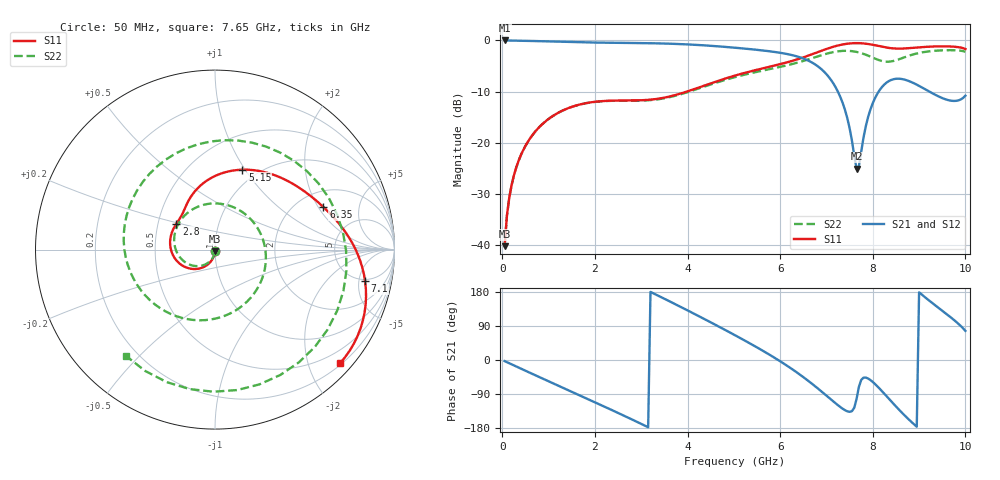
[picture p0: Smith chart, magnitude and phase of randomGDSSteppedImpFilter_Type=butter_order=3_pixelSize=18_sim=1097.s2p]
! freq	dB(S11)	phase(S11)	dB(S12)	phase(S12)
!  dB(S21)	phase(S21)	dB(S22)	phase(S22)
!S-par simulation data
#  GHz  S  DB  R 50
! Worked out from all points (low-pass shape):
!   200 points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, 50 MHz to 10 GHz, reference 50 ohm
!   highest |S21| = -0.01 dB at 50 MHz (marker M1); lowest = -25.1 dB at 7.65 GHz (marker M2)
!   |S21| within 3 dB of the highest: start of sweep to 6.317 GHz
!   lowest |S11| = -40.2 dB at 50 MHz (marker M3), VSWR 1.02, Z = 50 - j0.977 ohm
!   |S11| at or under -10 dB: start of sweep to 3.982 GHz
!   |S22| runs from -40.2 to -1.9 dB; largest |S21 - S12| = 0
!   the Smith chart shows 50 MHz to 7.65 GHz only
!   S11 on the Smith chart (normalised r, x): 50 MHz: 1.00, -0.02; 2.8 GHz: 0.62, +0.19; 5.15 GHz: 0.85, +0.97; 6.35 GHz: 2.72, +2.23; 7.1 GHz: 4.69, -6.09; 7.65 GHz: 0.23, -2.56
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0.05  -40.19 -91.9  -0.01 -2.9  -0.01 -2.9  -40.20 -92.3
0.2  -28.30 -100.3  -0.03 -11.4  -0.03 -11.4  -28.31 -102.3
0.5  -20.60 -116.2  -0.08 -28.3  -0.08 -28.3  -20.61 -121.3
1.75  -12.36 -176.0  -0.38 -97.7  -0.38 -97.7  -12.38 159.1
2.8  -11.73 146.2  -0.50 -156.9  -0.50 -156.9  -11.79 78.7
3.4  -11.34 131.6  -0.58 167.7  -0.58 167.7  -11.45 22.6
4.3  -9.01 106.1  -0.93 112.1  -0.93 112.1  -9.21 -62.8
5.05  -6.80 75.5  -1.44 63.8  -1.44 63.8  -7.11 -128.8
5.15  -6.55 71.1  -1.53 57.1  -1.53 57.1  -6.87 -137.7
5.8  -5.07 43.2  -2.15 11.8  -2.15 11.8  -5.56 159.2
6.35  -3.75 21.4  -3.09 -31.8  -3.09 -31.8  -4.40 92.3
6.7  -2.66 7.2  -4.38 -63.9  -4.38 -63.9  -3.44 40.6
7.1  -1.37 -11.8  -7.74 -104.4  -7.74 -104.4  -2.37 -26.5
7.4  -0.71 -28.3  -13.57 -132.4  -13.57 -132.4  -2.02 -81.1
7.65  -0.53 -42.4  -25.07 -102.9  -25.07 -102.9  -2.24 -130.2
7.95  -0.77 -57.9  -13.47 -53.0  -13.47 -53.0  -3.16 162.4
8.15  -1.13 -66.3  -9.68 -75.9  -9.68 -75.9  -3.90 109.5
8.35  -1.47 -72.8  -7.93 -102.5  -7.93 -102.5  -4.15 52.3
8.6  -1.60 -79.4  -7.50 -135.4  -7.50 -135.4  -3.57 -14.3
9  -1.35 -91.5  -8.88 178.6  -8.88 178.6  -2.45 -95.8
9.5  -1.15 -109.9  -11.26 130.1  -11.26 130.1  -1.94 -172.2
10  -1.68 -133.7  -10.80 76.9  -10.80 76.9  -2.22 119.3
